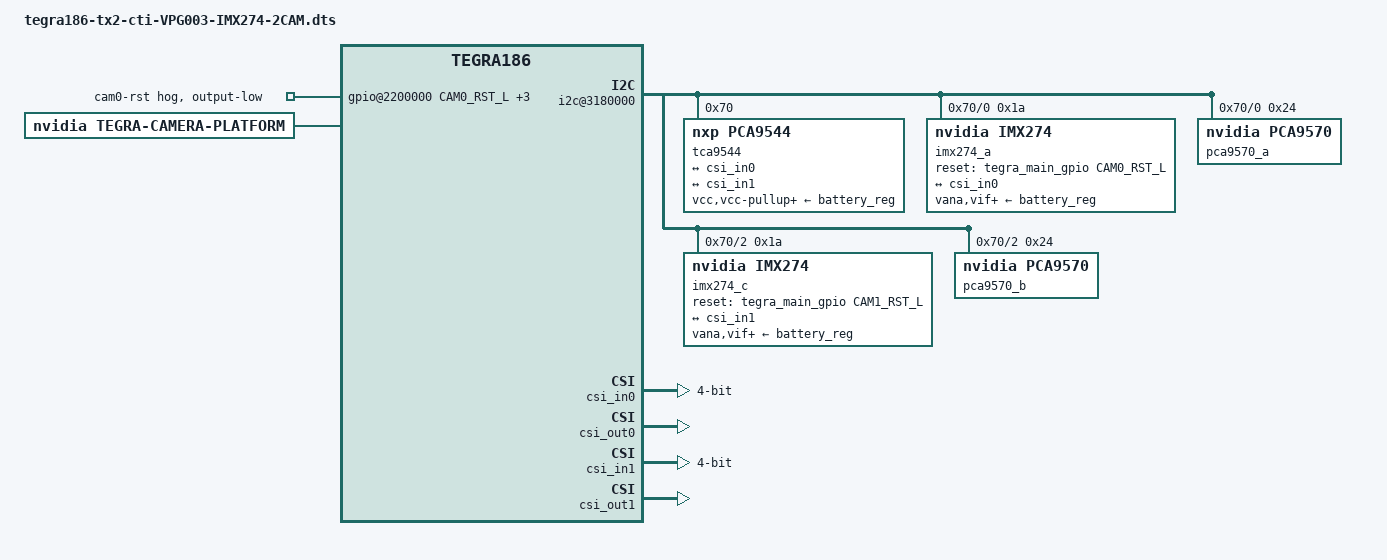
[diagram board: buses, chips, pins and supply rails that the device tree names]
#include "tegra186-tx2-cti-VPG003.dts"

#define CAM0_RST_L	TEGRA_MAIN_GPIO(R, 5)
#define CAM0_PWDN	TEGRA_MAIN_GPIO(R, 0)
#define CAM1_RST_L	TEGRA_MAIN_GPIO(R, 1)
#define CAM1_PWDN	TEGRA_MAIN_GPIO(N, 2)
#define CAMERA_I2C_MUX_BUS1(x) (0x1E + x)
#define CAMERA_I2C_MUX_BUS2(x) (0x22 + x)


/{
    nvidia,dtsfilename = "tegra186-tx2-cti-VPG003-IMX274-2CAM.dts";

    

	gpio@2200000 {
		camera-control-output-low {
			gpio-hog;
			output-low;
			gpios = <CAM0_RST_L 0 CAM0_PWDN 0
				 CAM1_RST_L 0 CAM1_PWDN 0>;
			label = "cam0-rst", "cam0-pwdn",
				"cam1-rst", "cam1-pwdn";
		};
	};
	
	
	/**********************SENSORS******************************************************************/

	i2c@3180000 {       //set this to correct i2c bus 
        tca9544@70 { 
			compatible = "nxp,pca9544";
			reg = <0x70>;
			#address-cells = <1>;
			#size-cells = <0>;
			skip_mux_detect = "no";
			vcc-supply = <&battery_reg>;
            vcc-pullup-supply = <&battery_reg>;
			vif-supply = <&battery_reg>;
			vcc_lp = "vif";
			force_bus_start = <CAMERA_I2C_MUX_BUS2(0)>;	
			
            i2c@0{  //cam_i2c/Mux@70/I2C_A
				reg = <0>;
				i2c-mux,deselect-on-exit;
                #address-cells = <1>;
                #size-cells = <0>;

                imx274_a@1a {
                    compatible = "nvidia,imx274";
                    reg = <0x1a>;
                    devnode = "video0";

                    /* Physical dimensions of sensor */
                    physical_w = "3.674";
                    physical_h = "2.738";
                    clocks = <&tegra_car TEGRA186_CLK_EXTPERIPH1>,
                             <&tegra_car TEGRA186_CLK_PLLP_OUT0>;
                    clock-names = "extperiph1", "pllp_grtba";
                    mclk = "extperiph1";
                    sensor_model = "imx274";
                    delayed_gain = "true";
                    reset-gpios = <&tegra_main_gpio CAM0_RST_L GPIO_ACTIVE_HIGH>;
                    vana-supply = <&battery_reg>;
                    vif-supply = <&battery_reg>;
                    vdig-supply = <&battery_reg>;
                    avdd-reg = "vana";
                    iovdd-reg = "vif";
                    dvdd-reg = "vdig";

                    mode0 {
                        mclk_khz = "24000";
                        num_lanes = "4";
                        tegra_sinterface = "serial_a";
                        discontinuous_clk = "yes";
                        dpcm_enable = "false";
                        cil_settletime = "0";
						phy_mode = "DPHY";

                        active_w = "3840";
						active_h = "2160";
						mode_type = "bayer";
						pixel_phase = "rggb";
						csi_pixel_bit_depth = "10";
						readout_orientation = "90";
						line_length = "4208";
						inherent_gain = "1";
						mclk_multiplier = "24";
						pix_clk_hz = "576000000";

						gain_factor = "1000000";
						min_gain_val = "1000000";
						max_gain_val = "44400000";
						step_gain_val = "1";
						default_gain = "1000000";
						min_hdr_ratio = "1";
						max_hdr_ratio = "1";
						framerate_factor = "1000000";
						min_framerate = "1500000";
						max_framerate = "60000000";
						step_framerate = "1";
						default_framerate= "60000000";
						exposure_factor = "1000000";
						min_exp_time = "44";
						max_exp_time = "478696";
						step_exp_time = "1";
						default_exp_time = "16667";/* us */
						//embedded_metadata_height = "1";
                    };                    

                    ports {
                        #address-cells = <1>;
                        #size-cells = <0>;

                        port@0 {
                            reg = <0>;
                            imx274_out0: endpoint {
                                port-index = <0>;
                                bus-width = <4>;
                                remote-endpoint = <&csi_in0>;
                            };
                        };
                    };
                };
                pca9570_a@24 {
                    compatible = "nvidia,pca9570";
                    reg = <0x24>;
                    channel = "a";
                    drive_ic= "DRV8838";
                };
            };
            i2c@2 {
				reg = <2>;
				i2c-mux,deselect-on-exit;
                #address-cells = <1>;
                #size-cells = <0>;
                imx274_c@1a {
                    compatible = "nvidia,imx274";
                    reg = <0x1a>;
                    devnode = "video1";

                    /* Physical dimensions of sensor */
                    physical_w = "3.674";
                    physical_h = "2.738";

                    /* Define any required hw resources needed by driver */
                    /* ie. clocks, io pins, power sources */
                    clocks = <&tegra_car TEGRA186_CLK_EXTPERIPH2>,
                         <&tegra_car TEGRA186_CLK_PLLP_OUT0>;
                    clock-names = "extperiph2", "pllp_grtba";
                    mclk = "extperiph2";
                    reset-gpios = <&tegra_main_gpio CAM1_RST_L GPIO_ACTIVE_HIGH>;
                    vana-supply = <&battery_reg>;
                    vif-supply = <&battery_reg>;
                    vdig-supply = <&battery_reg>;
                    avdd-reg = "vana";
                    iovdd-reg = "vif";
                    dvdd-reg = "vdig";

                    mode0 {
                        mclk_khz = "24000";
                        num_lanes = "4";
                        tegra_sinterface = "serial_c";
                        discontinuous_clk = "yes";
                        dpcm_enable = "false";
                        cil_settletime = "0";
						phy_mode = "DPHY";

                        active_w = "3840";
						active_h = "2160";
						mode_type = "bayer";
						pixel_phase = "rggb";
						csi_pixel_bit_depth = "10";
						readout_orientation = "90";
						line_length = "4208";
						inherent_gain = "1";
						mclk_multiplier = "24";
						pix_clk_hz = "576000000";

						gain_factor = "1000000";
						min_gain_val = "1000000";
						max_gain_val = "44400000";
						step_gain_val = "1";
						default_gain = "1000000";
						min_hdr_ratio = "1";
						max_hdr_ratio = "1";
						framerate_factor = "1000000";
						min_framerate = "1500000";
						max_framerate = "60000000";
						step_framerate = "1";
						default_framerate= "60000000";
						exposure_factor = "1000000";
						min_exp_time = "44";
						max_exp_time = "478696";
						step_exp_time = "1";
						default_exp_time = "16667";/* us */
						//embedded_metadata_height = "1";                    
					};

                    
                    ports {
                        #address-cells = <1>;
                        #size-cells = <0>;

                        port@0 {
                            reg = <0>;
                            imx274_out2: endpoint {
                                port-index = <2>;
                                bus-width = <4>;
                                remote-endpoint = <&csi_in1>;
                            };
                        };
                    };
                };

                pca9570_b@24 {
                    compatible = "nvidia,pca9570";
                    reg = <0x24>;
                    channel = "b";
                    drive_ic= "DRV8838";
                };
            };
        };
	};
	
    

/**********************VI******************************************************************/

     host1x {
        vi@15700000 {
            num-channels = <2>; //set number of channels
            status = "okay";
            ports {
				#address-cells = <1>;
				#size-cells = <0>;
                port@0 {
					reg = <0>;
                    status = "okay";
                    vi_in0: endpoint {
                        status = "okay";
                        port-index = <0>;
                        bus-width = <4>;
                        remote-endpoint = <&csi_out0>; 
                    };
                };

                port@1 {
					reg = <1>;
                    status = "okay";
                    vi_in1: endpoint {
                        status = "okay";
                        port-index = <2>;
                        bus-width = <4>;
                        remote-endpoint = <&csi_out1>; 
                    };
                };                
            };
        };

/**********************CSI******************************************************************/
        nvcsi@150c0000 {
            num-channels = <2>;
			#address-cells = <1>;
			#size-cells = <0>;
            channel@0 {
				reg = <0>;
                status = "okay";
                ports {
					#address-cells = <1>;
					#size-cells = <0>;
                     port@0 {
						reg = <0>;
                        status = "okay";
                        csi_in0: endpoint@0 {
                            port-index = <0>;
                            bus-width = <4>;
                            remote-endpoint = <&imx274_out0>; //should be sensor port under i2c endpoint
                            status = "okay";

                        };
                    };
                    port@1 {
						reg = <1>;
                        status = "okay";
                        csi_out0: endpoint@1 {
                            status = "okay";
                            remote-endpoint = <&vi_in0>; 
                        };
                    };
                };
            };

            channel@1 {
				reg = <1>;
                status = "okay";
                ports {
					#address-cells = <1>;
					#size-cells = <0>;
                    port@0 {
						reg = <0>;
                        status = "okay";
                        csi_in1: endpoint@2 {
                            port-index = <2>;
                            bus-width = <4>;
                            remote-endpoint = <&imx274_out2>; //should be sensor port under i2c endpoint
                            status = "okay";

                        };
                    };
                    port@1 {
						reg = <1>;
                        status = "okay";
                        csi_out1: endpoint@3 {
                            status = "okay";
                            remote-endpoint = <&vi_in1>; 
                        };
                    };
                };
            };            
        };
    };
    lens_imx274@A6V26 {
        min_focus_distance = "0.0";
        hyper_focal = "0.0";
        focal_length = "5.00";
        f_number = "2.0";
        aperture = "2.2";
    };

/**********************CAMERA PLATFORM*************************************************************/

    tegra-camera-platform {
        compatible = "nvidia, tegra-camera-platform";
        /**
        * Physical settings to calculate max ISO BW
        *
        * num_csi_lanes = <>;
        * Total number of CSI lanes when all cameras are active
        *
        * max_lane_speed = <>;
        * Max lane speed in Kbit/s
        *
        * min_bits_per_pixel = <>;
        * Min bits per pixel
        *
        * vi_peak_byte_per_pixel = <>;
        * Max byte per pixel for the VI ISO case
        *
        * vi_bw_margin_pct = <>;
        * Vi bandwidth margin in percentage
        *
        * max_pixel_rate = <>;
        * Max pixel rate in Kpixel/s for the ISP ISO case
        * Set this to the highest pix_clk_hz out of all available modes.
        *
        * isp_peak_byte_per_pixel = <>;
        * Max byte per pixel for the ISP ISO case
        *
        * isp_bw_margin_pct = <>;
        * Isp bandwidth margin in percentage
        */
        num_csi_lanes = <8>;
        max_lane_speed = <1500000>;
        min_bits_per_pixel = <10>;
        vi_peak_byte_per_pixel = <2>;
        vi_bw_margin_pct = <25>;
        max_pixel_rate = <750000>;
        isp_peak_byte_per_pixel = <5>;
        isp_bw_margin_pct = <25>;

        /**
        * The general guideline for naming badge_info contains 3 parts, and is as follows,
        * The first part is the camera_board_id for the module; if the module is in a FFD
        * platform, then use the platform name for this part.
        * The second part contains the position of the module, ex. “rear” or “front”.
        * The third part contains the last 6 characters of a part number which is found
        * in the module's specsheet from the vender.
        */
        modules {

            module0 {
                badge = "imx274_bottom_A6V26";
                position = "bottom";
                orientation = "0";
                status = "okay";
                drivernode0 {
                    status = "okay";
                    pcl_id = "v4l2_sensor";
                    devname = "imx274 34-001a";
                    proc-device-tree = "/proc/device-tree/i2c@3180000/tca9544@70/i2c@0/imx274_a@1a";
                };
                drivernode1 {
                    status = "okay";
                    pcl_id = "v4l2_lens";
                    proc-device-tree = "/proc/device-tree/lens_imx274@A6V26/";
                };
            };

            module1 {
                badge = "imx274_top_A6V26";
                position = "top";
                orientation = "0";
                status = "okay";
                drivernode0 {
                status = "okay";
                    pcl_id = "v4l2_sensor";
                    devname = "imx274 36-001a";
                    proc-device-tree = "/proc/device-tree/i2c@3180000/tca9544@70/i2c@2/imx274_c@1a";
                };
                drivernode1 {
                status = "okay";
                    pcl_id = "v4l2_lens";
                    proc-device-tree = "/proc/device-tree/lens_imx274@A6V26/";
                };
            };           
        };
    };
};
